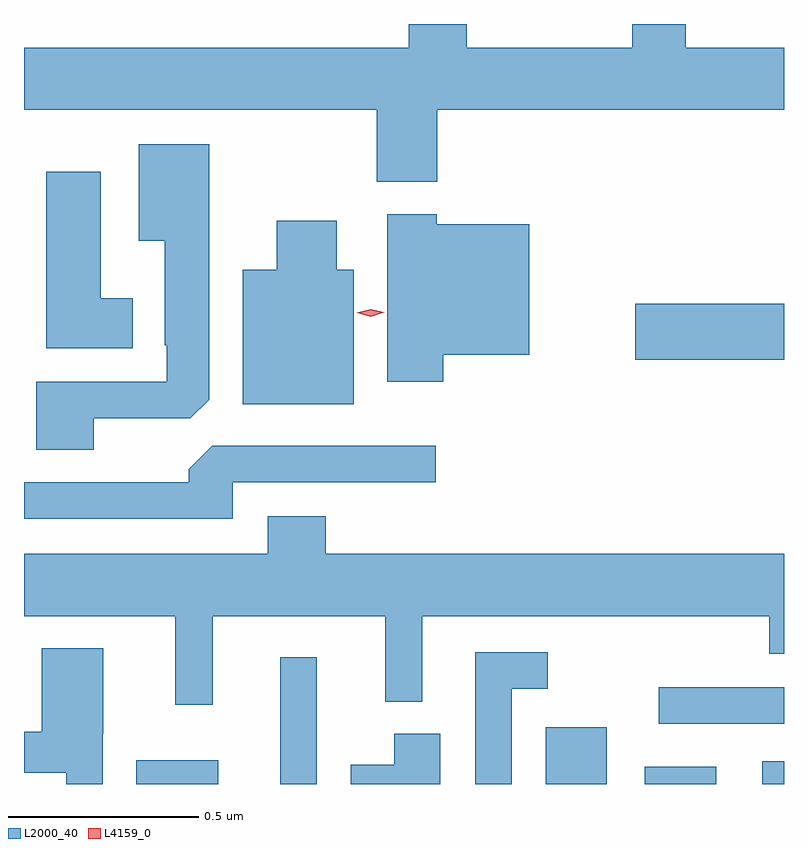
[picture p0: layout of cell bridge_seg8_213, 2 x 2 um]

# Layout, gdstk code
import gdstk
lib = gdstk.Library(unit=1e-6, precision=1e-09)
def R(c, l, rs):  # rectangles x0, y0, x1, y1
    for r in rs: c.add(gdstk.rectangle(r[:2], r[2:], *l))
def P(c, l, *ps):  # polygons
    for p in ps: c.add(gdstk.Polygon(p, *l))
L2000_40 = (2000, 40)
L4159_0 = (4159, 0)

bridge_seg8_213 = lib.new_cell('bridge_seg8_213')
R(bridge_seg8_213, L2000_40, [(241.502,1122.718,241.717,1122.781), (241.88,1122.718,241.977,1123.051), (242.579,1122.718,242.74,1122.868), (242.84,1122.718,243.028,1122.763), (243.149,1122.718,243.206,1122.778), (242.877,1122.876,243.206,1122.972), (242.814,1123.835,243.206,1123.982)])
P(bridge_seg8_213, L2000_40, [(242.294,1124.492),(243.206,1124.492),(243.206,1124.656),(242.947,1124.656),(242.947,1124.718),(242.807,1124.718),(242.807,1124.656),(242.371,1124.656),(242.371,1124.718),(242.219,1124.718),(242.219,1124.656),(241.206,1124.656),(241.206,1124.492),(242.134,1124.492),(242.134,1124.303),(242.294,1124.303)],
  [(241.39,1123.68),(241.644,1123.68),(241.693,1123.729),(241.693,1124.401),(241.508,1124.401),(241.508,1124.147),(241.577,1124.147),(241.577,1123.873),(241.581,1123.873),(241.581,1123.776),(241.238,1123.776),(241.238,1123.597),(241.39,1123.597)],
  [(241.492,1123.996),(241.408,1123.996),(241.408,1124.329),(241.265,1124.329),(241.265,1123.865),(241.492,1123.865)],
  [(242.309,1123.847),(242.536,1123.847),(242.536,1124.191),(242.292,1124.191),(242.292,1124.218),(242.162,1124.218),(242.162,1123.776),(242.309,1123.776)],
  [(242.074,1124.071),(242.029,1124.071),(242.029,1124.2),(241.871,1124.2),(241.871,1124.071),(241.781,1124.071),(241.781,1123.718),(242.074,1123.718)],
  [(241.755,1123.512),(242.29,1123.512),(242.29,1123.608),(241.701,1123.608),(241.64,1123.546),(241.64,1123.512),(241.206,1123.512),(241.206,1123.416),(241.755,1123.416)],
  [(241.703,1123.16),(242.156,1123.16),(242.156,1122.935),(242.254,1122.935),(242.254,1123.16),(243.167,1123.16),(243.167,1123.061),(243.206,1123.061),(243.206,1123.324),(242,1123.324),(242,1123.423),(241.847,1123.423),(241.847,1123.324),(241.206,1123.324),(241.206,1123.16),(241.604,1123.16),(241.604,1122.927),(241.703,1122.927)],
  [(241.413,1122.85),(241.414,1122.85),(241.414,1123.075),(241.253,1123.075),(241.253,1122.856),(241.206,1122.856),(241.206,1122.747),(241.317,1122.747),(241.317,1122.718),(241.413,1122.718)],
  [(242.49,1122.969),(242.584,1122.969),(242.584,1123.065),(242.394,1123.065),(242.394,1122.718),(242.49,1122.718)],
  [(242.302,1122.85),(242.18,1122.85),(242.18,1122.769),(242.066,1122.769),(242.066,1122.718),(242.302,1122.718)])
P(bridge_seg8_213, L4159_0, [(242.118,1123.948),(242.082,1123.958),(242.082,1123.958),(242.082,1123.958),(242.118,1123.968),(242.154,1123.959),(242.154,1123.959),(242.154,1123.959)])

lib.write_gds('bridge_seg8_213.gds')
